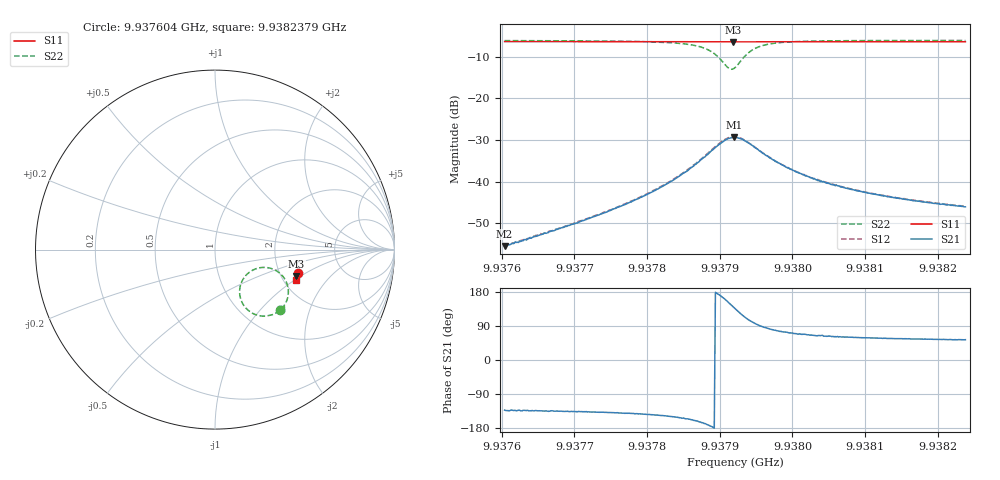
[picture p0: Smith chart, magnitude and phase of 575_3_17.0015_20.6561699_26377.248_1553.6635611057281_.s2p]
#  HZ  S  RI  R  50.00
! Rohde & Schwarz Vector Network Analyzer
! Rohde-Schwarz,ZNB20-2Port,1311601062101988,3.16
! Created: UTC 3/20/2024, 11:17:53 PM
! freq[Hz]  re:S11  im:S11  re:S21  im:S21  re:S12  im:S12  re:S22  im:S22
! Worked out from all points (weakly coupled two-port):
!   401 points, 9.937604 GHz to 9.9382379 GHz, reference 50 ohm
!   highest |S21| = -29.33 dB at 9.9379193 GHz (marker M1); lowest = -55.5 dB at 9.937604 GHz (marker M2)
!   lowest |S11| = -6.4 dB at 9.9379178 GHz (marker M3), VSWR 2.82, Z = 121 - j45.8 ohm
!   |S11| at or under -10 dB: nowhere
!   |S22| runs from -13.0 to -6.1 dB; largest |S21 - S12| = 0.0016
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9.93760398e9  0.4648 -0.1282  -0.00113 -0.00125  -0.00116 -0.00122  0.362 -0.3383
9.93762617e9  0.4644 -0.13  -0.00133 -0.00138  -0.00136 -0.00142  0.359 -0.3405
9.93771016e9  0.4622 -0.1354  -0.00244 -0.00234  -0.00249 -0.00233  0.345 -0.3503
9.93777196e9  0.4606 -0.1397  -0.0042 -0.00346  -0.00431 -0.00347  0.3262 -0.3597
9.93781634e9  0.4593 -0.1429  -0.0069 -0.00469  -0.00713 -0.00465  0.3009 -0.3677
9.93784803e9  0.4582 -0.145  -0.0111 -0.00544  -0.0112 -0.00548  0.2658 -0.3705
9.93787814e9  0.4565 -0.1472  -0.0191 -0.00428  -0.0196 -0.00398  0.201 -0.3502
9.9378924e9  0.4552 -0.1476  -0.0251 -5.81e-05  -0.0258 0.000525  0.1582 -0.3076
9.9379035e9  0.4543 -0.1476  -0.029 0.0073  -0.0296 0.00831  0.1372 -0.2421
9.93791142e9  0.4538 -0.1471  -0.0293 0.0151  -0.0295 0.0162  0.1482 -0.1809
9.93791776e9  0.4537 -0.1467  -0.0265 0.0211  -0.0264 0.0226  0.1795 -0.1362
9.93791934e9  0.4538 -0.1467  -0.0257 0.0226  -0.0253 0.0239  0.1904 -0.1272
9.93792093e9  0.4539 -0.1467  -0.0243 0.0237  -0.0239 0.025  0.2016 -0.1192
9.93792885e9  0.4545 -0.1464  -0.0172 0.0278  -0.0166 0.029  0.264 -0.0994
9.93793994e9  0.4554 -0.147  -0.00773 0.028  -0.00699 0.0284  0.3376 -0.1155
9.93795579e9  0.4559 -0.1483  7.08e-05 0.0231  0.000705 0.0234  0.3898 -0.1661
9.93797164e9  0.4561 -0.1498  0.00315 0.0184  0.00355 0.0185  0.406 -0.208
9.93799383e9  0.4557 -0.1518  0.00439 0.0139  0.00484 0.014  0.4083 -0.2461
9.9380271e9  0.4551 -0.1543  0.00459 0.0101  0.00477 0.00994  0.402 -0.2778
9.93807465e9  0.4539 -0.1577  0.00409 0.00726  0.0043 0.00724  0.3921 -0.301
9.93813328e9  0.4522 -0.1617  0.00362 0.00549  0.00371 0.0055  0.3824 -0.3167
9.93823787e9  0.4494 -0.1684  0.00296 0.00401  0.0031 0.00406  0.3702 -0.3322
